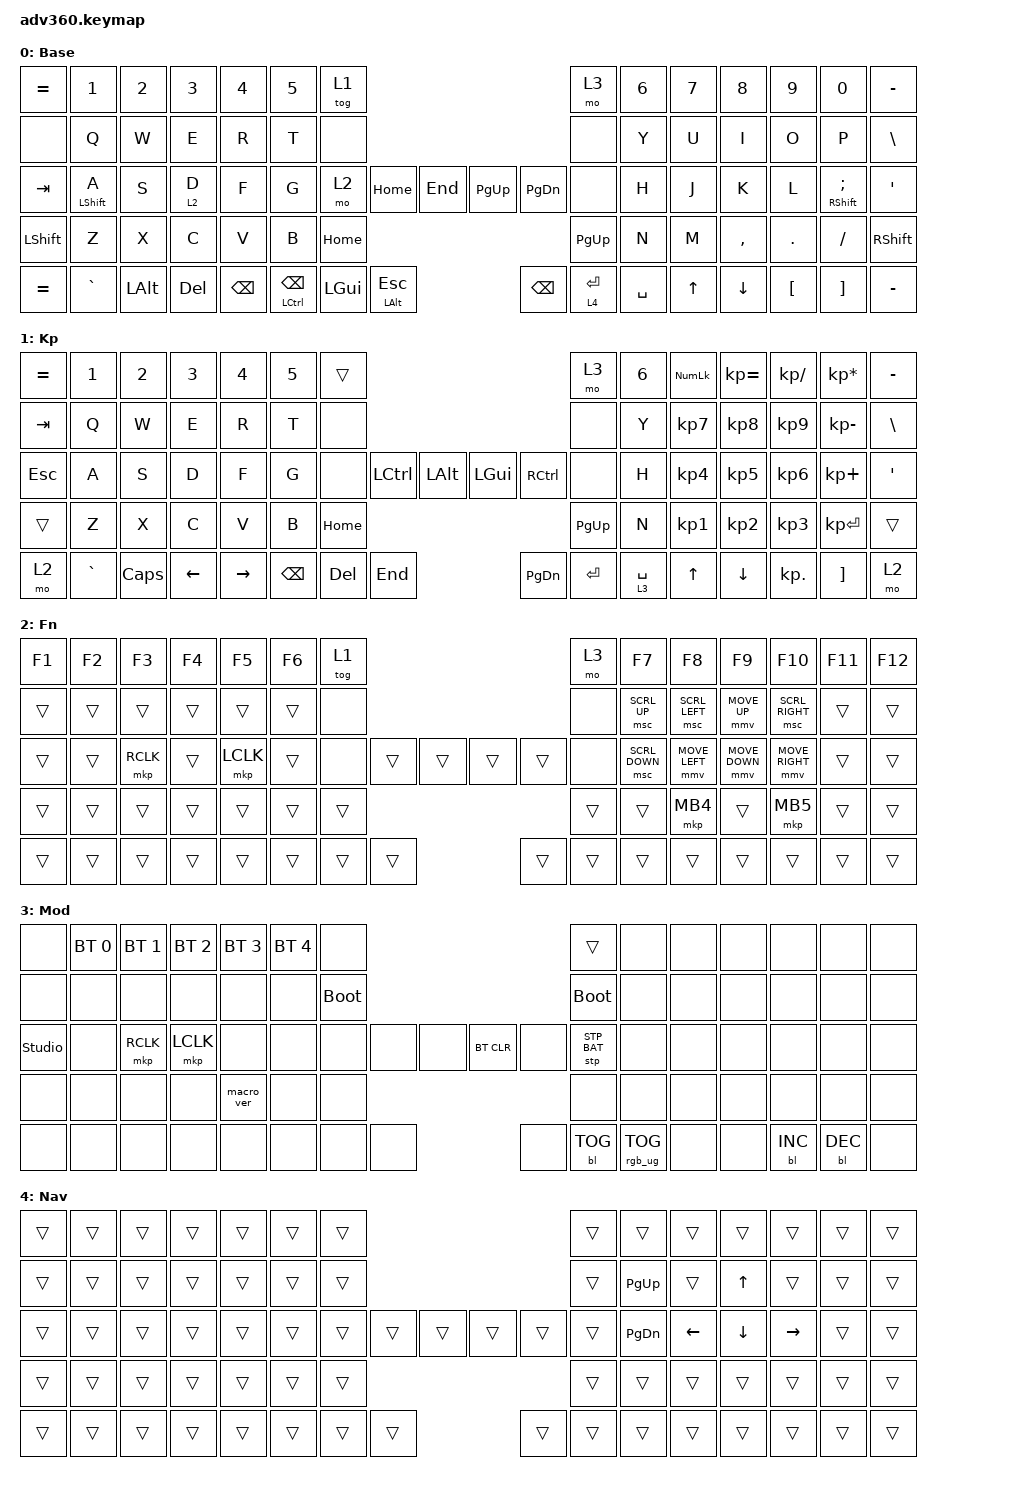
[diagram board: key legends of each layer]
#include <dt-bindings/zmk/stp.h>
#include <behaviors.dtsi>
#include <dt-bindings/zmk/backlight.h>
#include <dt-bindings/zmk/bt.h>
#include <dt-bindings/zmk/keys.h>
#include <dt-bindings/zmk/rgb.h>

#define ZMK_POINTING_DEFAULT_MOVE_VAL 2500  // default: 600
#define ZMK_POINTING_DEFAULT_SCRL_VAL 20    // default: 10
#include <dt-bindings/zmk/pointing.h>

/ {
    behaviors {
        #include "macros.dtsi"
      #include "version.dtsi"

        // Key positions, 0-indexed into the keymap bindings array:
        //   left half  = 0-6, 14-20, 28-36, 46-52, 60-67
        //   right half = 7-13, 21-27, 37-45, 53-59, 68-75
        // A is 29 (left), SEMI is 44 (right). Each shift only triggers its
        // hold for keys on the opposite half, so same-hand rolls ("as", "l;")
        // resolve as a tap immediately instead of racing the tapping term.
        //
        // Do NOT add hold-trigger-on-release here: it makes the positional
        // check record the first key *released* rather than pressed, so a roll
        // like "ar" hits the tapping term with nothing recorded and shifts.
        //
        // Do NOT add require-prior-idle-ms either: it would suppress the hold
        // whenever the previous key was recent, which also kills *intentional*
        // capitals mid-sentence ("the API" typed at speed).
        //
        // Cross-hand rolls are separated from real shifts by release order,
        // which "balanced" keys off: release the mod first ("and" -> roll off
        // A) resolves as a tap; release the other key first (A held through J)
        // resolves as a hold. The tapping term is only the fallback for when
        // no other key is involved.

        hm_l: homerow_mods_left {
            compatible = "zmk,behavior-hold-tap";
            label = "HOMEROW_MODS_LEFT";
            #binding-cells = <2>;
            tapping-term-ms = <200>;
            quick-tap-ms = <175>;
            flavor = "balanced";
            hold-trigger-key-positions = <7 8 9 10 11 12 13
                                          21 22 23 24 25 26 27
                                          37 38 39 40 41 42 43 44 45
                                          53 54 55 56 57 58 59
                                          68 69 70 71 72 73 74 75>;
            bindings = <&kp>, <&kp>;
        };

        hm_r: homerow_mods_right {
            compatible = "zmk,behavior-hold-tap";
            label = "HOMEROW_MODS_RIGHT";
            #binding-cells = <2>;
            tapping-term-ms = <200>;
            quick-tap-ms = <175>;
            flavor = "balanced";
            hold-trigger-key-positions = <0 1 2 3 4 5 6
                                          14 15 16 17 18 19 20
                                          28 29 30 31 32 33 34 35 36
                                          46 47 48 49 50 51 52
                                          60 61 62 63 64 65 66 67>;
            bindings = <&kp>, <&kp>;
        };

        tm: thumb_mods {
            compatible = "zmk,behavior-hold-tap";
            label = "THUMB_MODS";
            #binding-cells = <2>;
            tapping-term-ms = <150>;
            quick_tap_ms = <0>;
            flavor = "hold-preferred";
            bindings = <&kp>, <&kp>;
        };
    };

    keymap {
        compatible = "zmk,keymap";

        default_layer {
            display-name = "Base";
            bindings = <
                &kp EQUAL      &kp N1       &kp N2       &kp N3       &kp N4       &kp N5       &tog 1                                                        &mo 3           &kp N6         &kp N7         &kp N8         &kp N9          &kp N0          &kp MINUS
                &none          &kp Q        &kp W        &kp E        &kp R        &kp T        &none                                                         &none           &kp Y          &kp U          &kp I          &kp O           &kp P           &kp BSLH
                &kp TAB        &hm_l LSHFT A &kp S       &lt 2 D      &kp F        &kp G        &mo 2           &kp HOME  &kp END      &kp PG_UP  &kp PG_DN   &none           &kp H          &kp J          &kp K          &kp L           &hm_r RSHFT SEMI &kp SQT
                &kp LSHIFT     &kp Z        &kp X        &kp C        &kp V        &kp B                                  &kp HOME     &kp PG_UP                              &kp N          &kp M          &kp COMMA      &kp DOT         &kp FSLH        &kp RSHIFT
                &kp EQUAL      &kp GRAVE    &kp LALT     &kp DEL      &kp BSPC                  &tm LCTRL BSPC  &kp LGUI  &tm LALT ESC &kp BSPC   &lt 4 RET  &kp SPACE                      &kp UP         &kp DOWN       &kp LBKT        &kp RBKT        &kp MINUS
            >;
        };

        keypad {
            display-name = "Kp";
            bindings = <
                &kp EQUAL      &kp N1       &kp N2       &kp N3       &kp N4       &kp N5       &trans                                                        &mo 3           &kp N6         &kp KP_NUM     &kp KP_EQUAL   &kp KP_DIVIDE   &kp KP_MULTIPLY &kp MINUS
                &kp TAB        &kp Q        &kp W        &kp E        &kp R        &kp T        &none                                                         &none           &kp Y          &kp KP_N7      &kp KP_N8      &kp KP_N9       &kp KP_MINUS    &kp BSLH
                &kp ESC        &kp A        &kp S        &kp D        &kp F        &kp G        &none           &kp LCTRL &kp LALT     &kp LGUI   &kp RCTRL   &none           &kp H          &kp KP_N4      &kp KP_N5      &kp KP_N6       &kp KP_PLUS     &kp SQT
                &trans         &kp Z        &kp X        &kp C        &kp V        &kp B                                  &kp HOME     &kp PG_UP                              &kp N          &kp KP_N1      &kp KP_N2      &kp KP_N3       &kp KP_ENTER    &trans
                &mo 2          &kp GRAVE    &kp CAPS     &kp LEFT     &kp RIGHT                 &kp BSPC        &kp DEL   &kp END      &kp PG_DN  &kp ENTER   &lt 3 SPACE                    &kp UP         &kp DOWN       &kp KP_DOT      &kp RBKT        &mo 2
            >;
        };

        fn {
            display-name = "Fn";
            bindings = <
                &kp F1         &kp F2       &kp F3       &kp F4       &kp F5       &kp F6       &tog 1                                                        &mo 3           &kp F7         &kp F8         &kp F9         &kp F10         &kp F11         &kp F12
                &trans         &trans       &trans       &trans       &trans       &trans       &none                                                         &none           &msc SCRL_UP   &msc SCRL_LEFT &mmv MOVE_UP   &msc SCRL_RIGHT &trans          &trans
                &trans         &trans       &mkp RCLK    &trans       &mkp LCLK    &trans       &none           &trans    &trans       &trans     &trans      &none           &msc SCRL_DOWN &mmv MOVE_LEFT &mmv MOVE_DOWN &mmv MOVE_RIGHT &trans          &trans
                &trans         &trans       &trans       &trans       &trans       &trans                                 &trans       &trans                                 &trans         &mkp MB4       &trans         &mkp MB5        &trans          &trans
                &trans         &trans       &trans       &trans       &trans                    &trans          &trans    &trans       &trans     &trans      &trans                         &trans         &trans         &trans          &trans          &trans
            >;
        };

        mod {
            display-name = "Mod";
            bindings = <
                &none          &bt BT_SEL 0 &bt BT_SEL 1 &bt BT_SEL 2 &bt BT_SEL 3 &bt BT_SEL 4 &none                                                         &trans          &none          &none          &none          &none           &none           &none
                &none          &none        &none        &none        &none        &none        &bootloader                                                   &bootloader     &none          &none          &none          &none           &none           &none
                &studio_unlock &none        &mkp RCLK    &mkp LCLK    &none        &none        &none           &none     &none        &bt BT_CLR &none       &stp STP_BAT    &none          &none          &none          &none           &none           &none
                &none          &none        &none        &none        &macro_ver   &none                                  &none        &none                                  &none          &none          &none          &none           &none           &none
                &none          &none        &none        &none        &none                     &none           &none     &none        &none      &bl BL_TOG  &rgb_ug RGB_TOG                &none          &none          &bl BL_INC      &bl BL_DEC      &none
            >;
        };

        nav {
            display-name = "Nav";
            bindings = <
                &trans         &trans       &trans       &trans       &trans       &trans       &trans                                                        &trans          &trans         &trans         &trans         &trans          &trans          &trans
                &trans         &trans       &trans       &trans       &trans       &trans       &trans                                                        &trans          &kp PG_UP      &trans         &kp UP         &trans          &trans          &trans
                &trans         &trans       &trans       &trans       &trans       &trans       &trans          &trans    &trans       &trans     &trans      &trans          &kp PG_DN      &kp LEFT       &kp DOWN       &kp RIGHT       &trans          &trans
                &trans         &trans       &trans       &trans       &trans       &trans                                 &trans       &trans                                 &trans         &trans         &trans         &trans          &trans          &trans
                &trans         &trans       &trans       &trans       &trans                    &trans          &trans    &trans       &trans     &trans      &trans                         &trans         &trans         &trans          &trans          &trans
            >;
        };

        extra2 {
            display-name = "Purple";
            status = "reserved";
        };

        extra3 {
            display-name = "Cyan";
            status = "reserved";
        };

        extra4 {
            display-name = "Yellow";
            status = "reserved";
        };

    };
};
